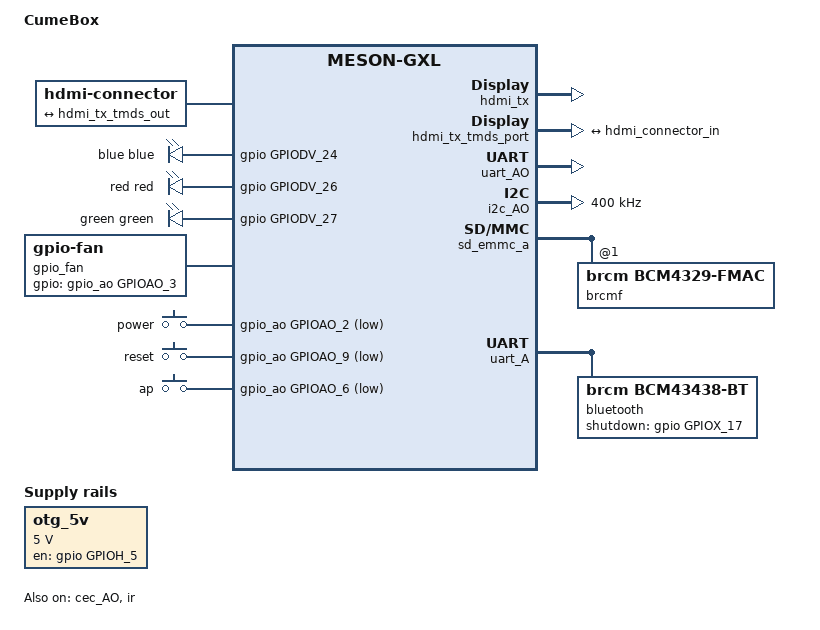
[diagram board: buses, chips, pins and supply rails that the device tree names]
// SPDX-License-Identifier: (GPL-2.0+ OR MIT)
/*
 * CumeBox
 */

/dts-v1/;

#include <dt-bindings/leds/common.h>
#include <dt-bindings/input/input.h>
#include "meson-gxl-s905x-p212.dtsi"

/ {
	compatible = "amlogic,p212", "amlogic,s905x", "amlogic,meson-gxl";
	model = "CumeBox";

	hdmi-connector {
		compatible = "hdmi-connector";
		type = "a";

		port {
			hdmi_connector_in: endpoint {
				remote-endpoint = <&hdmi_tx_tmds_out>;
			};
		};
	};

	otg_5v: regulator-hdmi-5v {
		compatible = "regulator-fixed";

		regulator-name = "OTG_5V";
		regulator-min-microvolt = <5000000>;
		regulator-max-microvolt = <5000000>;

		gpio = <&gpio GPIOH_5 GPIO_ACTIVE_HIGH>;
		enable-active-high;
		regulator-always-on;
	};

	leds {
		compatible = "gpio-leds";

		/*
			purple: red + blue
			yellow: red + green
			white:  red + green + blue
		*/
		led-blue {
			label = "blue";
			color = <LED_COLOR_ID_BLUE>;
			gpios = <&gpio GPIODV_24 GPIO_ACTIVE_HIGH>; // 73
			//linux,default-trigger = "timer";
		};

		led-red {
			label = "red";
			color = <LED_COLOR_ID_RED>;
			gpios = <&gpio GPIODV_26 GPIO_ACTIVE_HIGH>; // 75
			panic-indicator;
		};

		led-green {
			label = "green";
			color = <LED_COLOR_ID_GREEN>;
			default-state = "on";
			gpios = <&gpio GPIODV_27 GPIO_ACTIVE_HIGH>; // 76
		};
	};

	gpio_fan: gpio-fan {
		#cooling-cells = <2>;
		compatible = "gpio-fan";
		gpio-fan,speed-map = <0 0 4500 1>;
		gpios = <&gpio_ao GPIOAO_3 GPIO_ACTIVE_HIGH>;
		status = "okay";
	};

	gpio-keys-polled {
		compatible = "gpio-keys-polled";
		poll-interval = <100>;

		power-button {
			label = "power";
			linux,code = <KEY_POWER>;
			gpios = <&gpio_ao GPIOAO_2 GPIO_ACTIVE_LOW>;
		};
		reset-button {
			label = "reset";
			linux,code = <KEY_FN_F1>;
			gpios = <&gpio_ao GPIOAO_9 GPIO_ACTIVE_LOW>;
		};
		ap-button {
			label = "ap";
			linux,code = <KEY_FN_F2>;
			gpios = <&gpio_ao GPIOAO_6 GPIO_ACTIVE_LOW>;
		};
	};

};

&usb2_phy0 {
	// Enable the hub which is connected to this port 
	phy-supply = <&otg_5v>;
};

&cec_AO {
	status = "okay";
	pinctrl-0 = <&ao_cec_pins>;
	pinctrl-names = "default";
	hdmi-phandle = <&hdmi_tx>;
};

&hdmi_tx {
	status = "okay";
	pinctrl-0 = <&hdmi_hpd_pins>, <&hdmi_i2c_pins>;
	pinctrl-names = "default";
	hdmi-supply = <&hdmi_5v>;
};

&hdmi_tx_tmds_port {
	hdmi_tx_tmds_out: endpoint {
		remote-endpoint = <&hdmi_connector_in>;
	};
};

/* This UART is brought out to the DB9 connector */
&uart_AO {
	status = "okay";
};

&internal_phy {
	pinctrl-0 = <&eth_link_led_pins>, <&eth_act_led_pins>;
	pinctrl-names = "default";
};

&ir {
	status = "okay";
	pinctrl-0 = <&remote_input_ao_pins>;
	pinctrl-names = "default";
};

// enable I2C
&i2c_AO {
	status = "okay";
	pinctrl-0 = <&i2c_ao_pins>;
	pinctrl-names = "default";
	clock-frequency = < 400000 >;

	ssd1306: oled@3c {
		status = "disabled";
		compatible = "solomon,ssd1306fb-i2c";
		reg = < 0x3c >;
		solomon,width = < 128 >;
		solomon,height = < 64 >;
		solomon,page-offset = < 0 >;
		solomon,com-invdir;
		//reset-gpios = <&gpio_ao GPIOAO_3 GPIO_ACTIVE_HIGH>;
	};
};

/*
&i2c_A {
	status = "okay";
	pinctrl-0 = <&i2c_a_pins>;
	pinctrl-names = "default";
};

&i2c_B {
	status = "okay";
	pinctrl-0 = <&i2c_b_pins>;
	pinctrl-names = "default";
};
&i2c_C {
	status = "okay";
	pinctrl-0 = <&i2c_c_pins>;
	pinctrl-names = "default";
};
*/

&sd_emmc_a {
	max-frequency = <200000000>;
	brcmf: wifi@1 {
		reg = <1>;
		compatible = "brcm,bcm4329-fmac";
	};
};

&uart_A {
	bluetooth {
		compatible = "brcm,bcm43438-bt";
		shutdown-gpios = <&gpio GPIOX_17 GPIO_ACTIVE_HIGH>;
		max-speed = <2000000>;
		clocks = <&wifi32k>;
		clock-names = "lpo";
	};
};

/*
&pwm_AO_ab {
	pinctrl-0 = <&pwm_ao_a_3_pins>;
	pinctrl-names = "Fan";
	clocks = <&clkc CLKID_FCLK_DIV4>;
	clock-names = "clkin0";
	status = "okay";
};
*/
